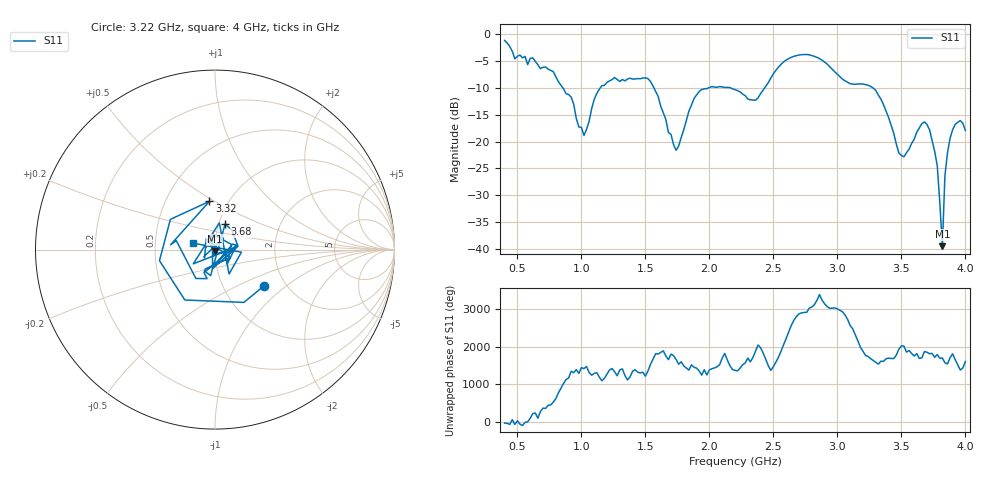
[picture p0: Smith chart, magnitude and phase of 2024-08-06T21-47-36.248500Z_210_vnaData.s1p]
!Created with skrf (http://scikit-rf.org).
# Hz S RI R 50.0
!freq ReS11 ImS11
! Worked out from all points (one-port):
!   181 points, 400 MHz to 4 GHz, reference 50 ohm
!   lowest |S11| = -39.5 dB at 3.82 GHz (marker M1), VSWR 1.02, Z = 49.7 - j1.02 ohm
!   |S11| at or under -10 dB: 855.8 MHz to 1.147 GHz (291 MHz wide, 29.1 % of centre); 1.567 GHz to 1.991 GHz (424.6 MHz wide, 23.9 % of centre); 3.279 GHz to end of sweep (the widest 3 of 4)
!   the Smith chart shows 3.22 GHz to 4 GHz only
!   S11 on the Smith chart (normalised r, x): 3.22 GHz: 1.55, -0.71; 3.32 GHz: 0.82, +0.47; 3.68 GHz: 1.07, +0.31; 4 GHz: 0.78, +0.06
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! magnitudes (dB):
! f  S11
! 400 MHz  -1.1
! 480 MHz  -4.6
! 620 MHz  -4.4
! 860 MHz  -10.1
! 1.02 GHz  -18.9
! 1.14 GHz  -10.2
! 1.3 GHz  -8.8
! 1.52 GHz  -8.3
! 1.72 GHz  -20.6
! 1.76 GHz  -20.8
! 1.92 GHz  -10.7
! 2.2 GHz  -10.3
! 2.36 GHz  -12.3
! 2.66 GHz  -4.1
! 2.86 GHz  -4.5
! 3.1 GHz  -9.2
! 3.22 GHz  -9.4
! 3.32 GHz  -11.3
! 3.48 GHz  -22.1
! 3.56 GHz  -21.4
! 3.68 GHz  -16.3
! 3.72 GHz  -17.8
! 3.78 GHz  -24.5
! 3.82 GHz  -39.5
! 3.84 GHz  -26.4
! 3.88 GHz  -19.4
! 3.96 GHz  -16.1
! 4 GHz  -17.9
